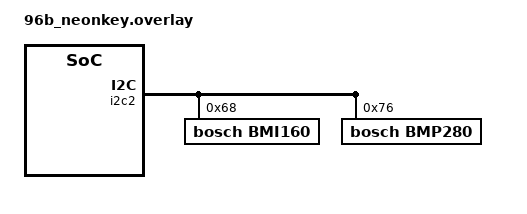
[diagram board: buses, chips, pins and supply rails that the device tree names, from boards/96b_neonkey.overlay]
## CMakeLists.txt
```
cmake_minimum_required(VERSION 3.8.2)

set(BOARD 96b_neonkey)

#set(CONF_FILE prj.conf)
#if(EXISTS ${CMAKE_CURRENT_SOURCE_DIR}/boards/${BOARD}.conf)
#  set(CONF_FILE ${CONF_FILE} " boards/${BOARD}.conf")
#endif()

# DTC overlays are per-board; each board must define a boards/$BOARD.overlay.
#set(DTC_OVERLAY_FILE ${CMAKE_CURRENT_SOURCE_DIR}/boards/${BOARD}.overlay)

include($ENV{ZEPHYR_BASE}/cmake/app/boilerplate.cmake NO_POLICY_SCOPE)
project(NONE)

FILE(GLOB app_sources src/*.c)
target_sources(app PRIVATE ${app_sources})
```

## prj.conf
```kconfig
CONFIG_BOOT_BANNER=n
CONFIG_UART_INTERRUPT_DRIVEN=y
CONFIG_PRINTK=y
CONFIG_SHELL=y
CONFIG_LOG=y
CONFIG_LOG_BACKEND_UART=n
CONFIG_KERNEL_SHELL=y
CONFIG_THREAD_MONITOR=y
CONFIG_INIT_STACKS=y
CONFIG_THREAD_NAME=y
CONFIG_SPI=y
CONFIG_I2C=y
CONFIG_GPIO=y
CONFIG_SENSOR=y
CONFIG_BME280=y
CONFIG_BME280_I2C_MASTER_DEV_NAME="I2C_2"
CONFIG_LED=y
CONFIG_LP3943=y
CONFIG_RTC=y
```

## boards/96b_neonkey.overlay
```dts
&i2c2 {
    bmi160@68 {
        compatible = "bosch,bmi160";
		reg = <0x68>;
		label = "BMI160";
    }

    bmp280@76 {
        compatible = "bosch,bmp280";
		reg = <0x76>;
		label = "BMP280";
    }
}
```

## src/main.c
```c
#include <zephyr.h>
#include <misc/printk.h>
#include <shell/shell.h>
#include <shell/shell_uart.h>
#include <version.h>
#include <logging/log.h>

#define LOG_LEVEL LOG_LEVEL_DEBUG
#include <logging/log.h>
LOG_MODULE_REGISTER(main);

SHELL_UART_DEFINE(shell_transport_uart);
SHELL_DEFINE(uart_shell, "uart:~$ ", &shell_transport_uart, 10);

void main(void)
{
    LOG_INF("Neonkey application");

    (void)shell_init(&uart_shell, NULL, true, true, LOG_LEVEL_INF);
}
```

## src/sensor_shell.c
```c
#include <zephyr.h>
#include <shell/shell.h>
#include <board.h>
#include <sensor.h>

static int cmd_env_show(const struct shell *shell, size_t argc, char **argv)
{
    ARG_UNUSED(argc);
	ARG_UNUSED(argv);

    struct device *bmp_dev = device_get_binding("BME280");

    if (!bmp_dev) {
		shell_fprintf(shell, SHELL_ERROR, "Could not get pointer to BME280 sensor.");
		return -ENODEV;
	}

    struct sensor_value temp, press;
    sensor_sample_fetch(bmp_dev);
    sensor_channel_get(bmp_dev, SENSOR_CHAN_AMBIENT_TEMP, &temp);
    sensor_channel_get(bmp_dev, SENSOR_CHAN_PRESS, &press);

	shell_fprintf(shell, SHELL_NORMAL, "temp: %d.%02d C; press: %d.%06d\n",
		       temp.val1, temp.val2, press.val1, press.val2);

	return 0;
}

SHELL_CREATE_STATIC_SUBCMD_SET(sub_sensors)
{
	SHELL_CMD(env, NULL, "Show environmental sensor values.", cmd_env_show),
	SHELL_SUBCMD_SET_END
};

SHELL_CMD_REGISTER(sensors, &sub_sensors, "Show local sensor values", NULL);
```

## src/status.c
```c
#include <zephyr.h>
#include <board.h>
#include <gpio.h>
#include <led.h>

#define LOG_LEVEL LOG_LEVEL_DEBUG
#include <logging/log.h>
LOG_MODULE_REGISTER(status);

#define STATUS_STACK_SIZE 500
#define STATUS_PRIORITY 5
#define NUM_LEDS 16
#define DELAY_TIME K_MSEC(10)

void status_thread(void)
{
    int i, on = 1;
	static struct device *led0, *ledc;

	ledc = device_get_binding(CONFIG_LP3943_DEV_NAME);
	if (!ledc) {
		LOG_ERR("Could not get pointer to %s sensor\n", CONFIG_LP3943_DEV_NAME);
		return;
	}

    /* turn all leds on */
	for (i = 0; i < NUM_LEDS; i++) {
		led_on(ledc, i);
		k_sleep(DELAY_TIME);
	}

	/* turn all leds off */
	for (i = 0; i < NUM_LEDS; i++) {
		led_off(ledc, i);
		k_sleep(DELAY_TIME);
	}

    led0 = device_get_binding(LED0_GPIO_CONTROLLER);
	gpio_pin_configure(led0, LED0_GPIO_PIN, GPIO_DIR_OUT);
	gpio_pin_write(led0, LED0_GPIO_PIN, 1);

    while (1) {
        gpio_pin_write(led0, LED0_GPIO_PIN, on);
		on = (on == 1) ? 0 : 1;
        k_sleep(2000);
    }
}

K_THREAD_DEFINE(status_id, STATUS_STACK_SIZE, status_thread, NULL, NULL, NULL,
		STATUS_PRIORITY, 0, K_NO_WAIT);
```
